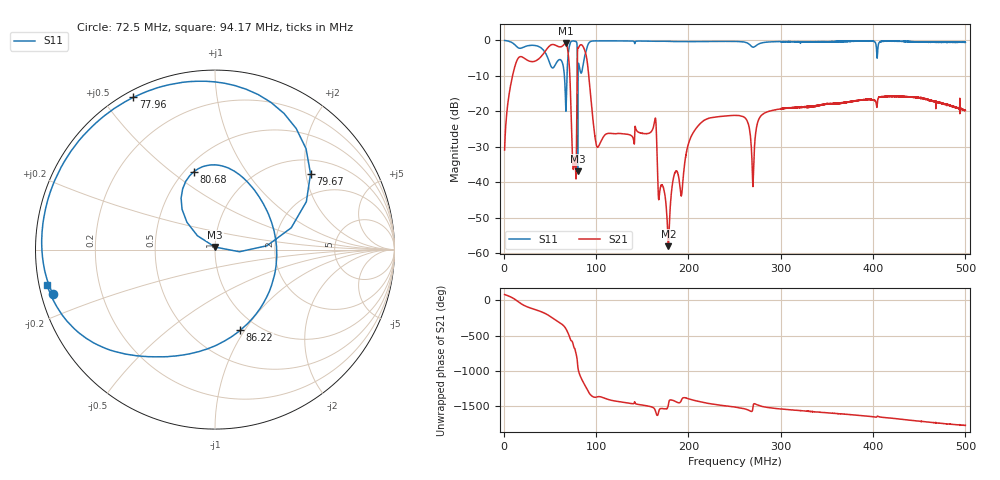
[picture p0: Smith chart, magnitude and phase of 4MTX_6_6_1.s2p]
! NanoVNA-App
! Date: 2026-08-18 22:05:10
! Start: 1MHz Stop: 500MHz Points: 6401
! S-Parameter data: F S11 S21 S12 S22
# Hz S RI R 50
!  Frequency  S11_Real  S11_Imag  S21_Real  S21_Imag  S12_Real  S12_Imag  S22_Real  S22_Imag
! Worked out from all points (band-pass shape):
!   6401 points, 1 MHz to 500 MHz, reference 50 ohm
!   highest |S21| = -0.87 dB at 67.12 MHz (marker M1); lowest = -58.0 dB at 178.3 MHz (marker M2)
!   |S21| within 3 dB of the highest: 42.93 MHz to 69.88 MHz (26.95 MHz wide, 47.8 % of centre); 79.87 MHz to 88.91 MHz (9.039 MHz wide, 10.7 % of centre)
!   lowest |S11| = -37.0 dB at 80.06 MHz (marker M3), VSWR 1.03, Z = 50 + j1.42 ohm
!   |S11| at or under -10 dB: 65.73 MHz to 68.52 MHz (2.798 MHz wide, 4.17 % of centre); 79.89 MHz to 80.33 MHz (445.5 kHz wide, 0.556 % of centre)
!   S12 and S22 are empty: the file has one direction only
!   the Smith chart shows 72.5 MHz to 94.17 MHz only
!   S11 on the Smith chart (normalised r, x): 72.5 MHz: 0.03, -0.14; 77.96 MHz: 0.03, +0.60; 79.67 MHz: 1.35, +2.13; 80.68 MHz: 0.55, +0.60; 86.22 MHz: 0.83, -0.96; 94.17 MHz: 0.02, -0.10
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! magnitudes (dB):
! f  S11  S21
! 1 MHz  -0.1  -30.9
! 15.5 MHz  -2.1  -5.2
! 67.12 MHz  -18.6  -0.9
! 72.5 MHz  -0.6  -16.5
! 76.08 MHz  -0.2  -35.6
! 77.96 MHz  -0.3  -37.3
! 79.67 MHz  -3.4  -7.6
! 80.06 MHz  -37.0  -2.3
! 80.68 MHz  -6.9  -2.2
! 84.19 MHz  -9.2  -1.3
! 86.22 MHz  -6.5  -1.9
! 94.17 MHz  -0.4  -15.9
! 102 MHz  -0.2  -30.1
! 162.9 MHz  -0.3  -23.6
! 167.4 MHz  -0.3  -43.2
! 178.3 MHz  -0.3  -58.0
! 206 MHz  -0.4  -25.7
! 250.5 MHz  -0.4  -21.2
! 269.9 MHz  -2.0  -41.2
! 333.7 MHz  -0.5  -18.7
! 416.9 MHz  -0.3  -15.9
! 500 MHz  -0.6  -19.8
